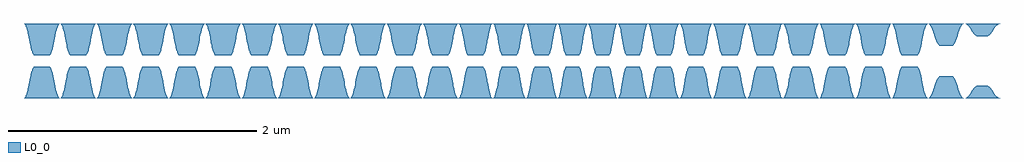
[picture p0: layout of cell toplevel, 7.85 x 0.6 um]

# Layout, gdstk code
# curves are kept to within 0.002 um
import gdstk
lib = gdstk.Library(unit=1e-6, precision=1e-09)
def P(c, l, *ps):  # polygons
    for p in ps: c.add(gdstk.Polygon(p, *l))
L0_0 = (0, 0)

toplevel = lib.new_cell('toplevel')
P(toplevel, L0_0, [(-3.832,0.046),(-3.823,0.054),(-3.809,0.088),(-3.773,0.257),(-3.759,0.291),(-3.75,0.3),(-4.037,0.3),(-4.027,0.291),(-4.011,0.249),(-3.982,0.105),(-3.966,0.058),(-3.959,0.048),(-3.952,0.045)],
  [(-3.541,0.046),(-3.536,0.048),(-3.529,0.058),(-3.522,0.074),(-3.479,0.265),(-3.47,0.287),(-3.458,0.3),(-3.745,0.3),(-3.731,0.283),(-3.724,0.265),(-3.688,0.096),(-3.672,0.054),(-3.66,0.045)],
  [(-3.245,0.048),(-3.233,0.068),(-3.219,0.114),(-3.19,0.257),(-3.176,0.291),(-3.167,0.3),(-3.454,0.3),(-3.444,0.291),(-3.428,0.249),(-3.401,0.114),(-3.392,0.081),(-3.376,0.048),(-3.369,0.045),(-3.251,0.045)],
  [(-2.958,0.046),(-2.948,0.054),(-2.939,0.074),(-2.925,0.125),(-2.912,0.198),(-2.896,0.265),(-2.889,0.283),(-2.875,0.3),(-3.162,0.3),(-3.148,0.283),(-3.141,0.265),(-3.105,0.096),(-3.089,0.054),(-3.077,0.045)],
  [(-2.664,0.047),(-2.652,0.063),(-2.643,0.088),(-2.616,0.221),(-2.604,0.265),(-2.593,0.291),(-2.583,0.3),(-2.87,0.3),(-2.861,0.291),(-2.847,0.257),(-2.818,0.114),(-2.804,0.068),(-2.795,0.051),(-2.786,0.045)],
  [(-2.374,0.046),(-2.365,0.054),(-2.349,0.096),(-2.313,0.265),(-2.306,0.283),(-2.292,0.3),(-2.579,0.3),(-2.567,0.287),(-2.558,0.265),(-2.544,0.21),(-2.522,0.096),(-2.515,0.074),(-2.501,0.048),(-2.494,0.045)],
  [(-2.081,0.047),(-2.071,0.058),(-2.055,0.105),(-2.035,0.21),(-2.021,0.265),(-2.01,0.291),(-2,0.3),(-2.287,0.3),(-2.278,0.291),(-2.264,0.257),(-2.235,0.114),(-2.221,0.068),(-2.212,0.051),(-2.202,0.045)],
  [(-1.791,0.046),(-1.782,0.054),(-1.768,0.088),(-1.732,0.257),(-1.723,0.283),(-1.709,0.3),(-1.996,0.3),(-1.984,0.287),(-1.975,0.265),(-1.961,0.21),(-1.941,0.105),(-1.932,0.074),(-1.918,0.048),(-1.911,0.045)],
  [(-1.498,0.047),(-1.488,0.058),(-1.472,0.105),(-1.452,0.21),(-1.438,0.265),(-1.429,0.287),(-1.417,0.3),(-1.704,0.3),(-1.69,0.283),(-1.681,0.257),(-1.645,0.088),(-1.629,0.051),(-1.619,0.045)],
  [(-1.208,0.046),(-1.199,0.054),(-1.185,0.088),(-1.149,0.257),(-1.135,0.291),(-1.126,0.3),(-1.413,0.3),(-1.403,0.291),(-1.387,0.249),(-1.358,0.105),(-1.342,0.058),(-1.335,0.048),(-1.328,0.045)],
  [(-0.917,0.046),(-0.912,0.048),(-0.905,0.058),(-0.898,0.074),(-0.855,0.265),(-0.846,0.287),(-0.834,0.3),(-1.121,0.3),(-1.107,0.283),(-1.1,0.265),(-1.064,0.096),(-1.048,0.054),(-1.036,0.045)],
  [(-0.626,0.047),(-0.614,0.063),(-0.605,0.088),(-0.567,0.265),(-0.558,0.287),(-0.546,0.3),(-0.83,0.3),(-0.818,0.287),(-0.809,0.265),(-0.771,0.088),(-0.762,0.063),(-0.753,0.048),(-0.746,0.045)],
  [(-0.345,0.047),(-0.338,0.054),(-0.329,0.074),(-0.318,0.114),(-0.299,0.221),(-0.288,0.265),(-0.277,0.291),(-0.268,0.3),(-0.542,0.3),(-0.533,0.291),(-0.522,0.265),(-0.511,0.221),(-0.492,0.114),(-0.481,0.074),(-0.47,0.051),(-0.461,0.045)],
  [(-0.073,0.048),(-0.054,0.096),(-0.021,0.265),(-0.013,0.287),(-0.002,0.3),(-0.264,0.3),(-0.255,0.291),(-0.245,0.265),(-0.234,0.221),(-0.214,0.105),(-0.203,0.068),(-0.193,0.048),(-0.186,0.045),(-0.079,0.045)],
  [(0.184,0.048),(0.194,0.068),(0.202,0.096),(0.234,0.265),(0.243,0.291),(0.251,0.3),(0.002,0.3),(0.01,0.291),(0.02,0.265),(0.052,0.096),(0.06,0.068),(0.07,0.048),(0.076,0.045),(0.178,0.045)],
  [(0.43,0.048),(0.44,0.068),(0.448,0.096),(0.478,0.265),(0.484,0.283),(0.495,0.3),(0.255,0.3),(0.263,0.291),(0.273,0.265),(0.301,0.105),(0.311,0.068),(0.321,0.048),(0.326,0.045),(0.424,0.045)],
  [(0.67,0.047),(0.677,0.058),(0.687,0.088),(0.709,0.221),(0.722,0.277),(0.728,0.291),(0.736,0.3),(0.499,0.3),(0.507,0.291),(0.513,0.277),(0.526,0.221),(0.548,0.088),(0.564,0.048),(0.569,0.045)],
  [(0.91,0.046),(0.92,0.058),(0.93,0.088),(0.958,0.249),(0.968,0.283),(0.98,0.3),(0.739,0.3),(0.747,0.291),(0.757,0.265),(0.787,0.096),(0.795,0.068),(0.805,0.048),(0.81,0.045)],
  [(1.165,0.048),(1.175,0.068),(1.183,0.096),(1.215,0.265),(1.225,0.291),(1.233,0.3),(0.983,0.3),(0.991,0.291),(1.001,0.265),(1.033,0.096),(1.041,0.068),(1.051,0.048),(1.057,0.045),(1.159,0.045)],
  [(1.423,0.046),(1.432,0.054),(1.44,0.074),(1.451,0.114),(1.469,0.221),(1.48,0.265),(1.49,0.291),(1.499,0.3),(1.237,0.3),(1.248,0.287),(1.256,0.265),(1.289,0.096),(1.308,0.048),(1.314,0.045)],
  [(1.702,0.048),(1.716,0.074),(1.727,0.114),(1.746,0.221),(1.757,0.265),(1.768,0.291),(1.777,0.3),(1.503,0.3),(1.512,0.291),(1.523,0.265),(1.534,0.221),(1.553,0.114),(1.566,0.068),(1.577,0.048),(1.584,0.045),(1.696,0.045)],
  [(1.985,0.047),(1.997,0.063),(2.006,0.088),(2.044,0.265),(2.055,0.291),(2.065,0.3),(1.781,0.3),(1.793,0.287),(1.802,0.265),(1.818,0.198),(1.833,0.114),(1.842,0.081),(1.858,0.048),(1.865,0.045)],
  [(2.273,0.046),(2.283,0.054),(2.292,0.074),(2.306,0.125),(2.319,0.198),(2.335,0.265),(2.342,0.283),(2.356,0.3),(2.069,0.3),(2.081,0.287),(2.09,0.265),(2.104,0.21),(2.126,0.096),(2.133,0.074),(2.147,0.048),(2.154,0.045)],
  [(2.567,0.047),(2.579,0.063),(2.593,0.105),(2.615,0.221),(2.627,0.265),(2.638,0.291),(2.648,0.3),(2.361,0.3),(2.37,0.291),(2.384,0.257),(2.413,0.114),(2.427,0.068),(2.436,0.051),(2.446,0.045)],
  [(2.857,0.046),(2.866,0.054),(2.88,0.088),(2.916,0.257),(2.925,0.283),(2.939,0.3),(2.652,0.3),(2.664,0.287),(2.673,0.265),(2.687,0.21),(2.707,0.105),(2.716,0.074),(2.73,0.048),(2.737,0.045)],
  [(3.15,0.047),(3.16,0.058),(3.176,0.105),(3.196,0.21),(3.21,0.265),(3.219,0.287),(3.231,0.3),(2.944,0.3),(2.958,0.283),(2.967,0.257),(3.003,0.088),(3.019,0.051),(3.029,0.045)],
  [(3.432,0.124),(3.44,0.131),(3.456,0.157),(3.495,0.27),(3.511,0.294),(3.522,0.3),(3.236,0.3),(3.252,0.288),(3.26,0.275),(3.273,0.244),(3.299,0.163),(3.307,0.146),(3.323,0.126),(3.331,0.122)],
  [(3.708,0.199),(3.72,0.203),(3.738,0.218),(3.768,0.264),(3.789,0.289),(3.813,0.3),(3.528,0.3),(3.543,0.295),(3.561,0.28),(3.603,0.218),(3.621,0.203),(3.636,0.198)],
  [(-0.27,-0.299),(-0.277,-0.291),(-0.288,-0.265),(-0.299,-0.221),(-0.318,-0.114),(-0.329,-0.074),(-0.342,-0.048),(-0.349,-0.045),(-0.461,-0.045),(-0.467,-0.048),(-0.481,-0.074),(-0.492,-0.114),(-0.511,-0.221),(-0.522,-0.265),(-0.533,-0.291),(-0.542,-0.3)],
  [(-0.004,-0.299),(-0.013,-0.287),(-0.021,-0.265),(-0.054,-0.096),(-0.073,-0.048),(-0.079,-0.045),(-0.186,-0.045),(-0.193,-0.048),(-0.203,-0.068),(-0.214,-0.105),(-0.234,-0.221),(-0.245,-0.265),(-0.255,-0.291),(-0.264,-0.3)],
  [(0.249,-0.299),(0.243,-0.291),(0.234,-0.265),(0.202,-0.096),(0.194,-0.068),(0.184,-0.048),(0.178,-0.045),(0.076,-0.045),(0.07,-0.048),(0.06,-0.068),(0.052,-0.096),(0.02,-0.265),(0.01,-0.291),(0.002,-0.3)],
  [(0.492,-0.297),(0.484,-0.283),(0.474,-0.249),(0.448,-0.096),(0.44,-0.068),(0.43,-0.048),(0.424,-0.045),(0.326,-0.045),(0.321,-0.048),(0.311,-0.068),(0.301,-0.105),(0.273,-0.265),(0.263,-0.291),(0.255,-0.3),(0.495,-0.3)],
  [(-2.294,-0.299),(-2.306,-0.283),(-2.313,-0.265),(-2.349,-0.096),(-2.365,-0.054),(-2.377,-0.045),(-2.494,-0.045),(-2.501,-0.048),(-2.508,-0.058),(-2.522,-0.096),(-2.544,-0.21),(-2.558,-0.265),(-2.567,-0.287),(-2.579,-0.3)],
  [(0.734,-0.299),(0.722,-0.277),(0.709,-0.221),(0.687,-0.088),(0.671,-0.048),(0.666,-0.045),(0.565,-0.047),(0.558,-0.058),(0.548,-0.088),(0.526,-0.221),(0.513,-0.277),(0.507,-0.291),(0.499,-0.3)],
  [(-2.003,-0.299),(-2.014,-0.283),(-2.026,-0.249),(-2.055,-0.105),(-2.071,-0.058),(-2.078,-0.048),(-2.085,-0.045),(-2.202,-0.045),(-2.209,-0.048),(-2.221,-0.068),(-2.235,-0.114),(-2.264,-0.257),(-2.278,-0.291),(-2.287,-0.3)],
  [(0.978,-0.299),(0.968,-0.283),(0.962,-0.265),(0.934,-0.105),(0.924,-0.068),(0.914,-0.048),(0.909,-0.045),(0.81,-0.045),(0.805,-0.048),(0.795,-0.068),(0.787,-0.096),(0.757,-0.265),(0.747,-0.291),(0.739,-0.3)],
  [(-1.42,-0.299),(-1.429,-0.287),(-1.438,-0.265),(-1.452,-0.21),(-1.472,-0.105),(-1.481,-0.074),(-1.495,-0.048),(-1.502,-0.045),(-1.619,-0.045),(-1.626,-0.048),(-1.638,-0.068),(-1.645,-0.088),(-1.681,-0.257),(-1.69,-0.283),(-1.704,-0.3)],
  [(-3.752,-0.299),(-3.759,-0.291),(-3.773,-0.257),(-3.802,-0.114),(-3.816,-0.068),(-3.825,-0.051),(-3.835,-0.045),(-3.952,-0.045),(-3.959,-0.048),(-3.966,-0.058),(-3.982,-0.105),(-4.011,-0.249),(-4.027,-0.291),(-4.037,-0.3)],
  [(-1.128,-0.299),(-1.135,-0.291),(-1.149,-0.257),(-1.178,-0.114),(-1.192,-0.068),(-1.201,-0.051),(-1.211,-0.045),(-1.328,-0.045),(-1.335,-0.048),(-1.342,-0.058),(-1.358,-0.105),(-1.387,-0.249),(-1.403,-0.291),(-1.413,-0.3)],
  [(-3.46,-0.299),(-3.47,-0.287),(-3.479,-0.265),(-3.493,-0.21),(-3.515,-0.096),(-3.522,-0.074),(-3.536,-0.048),(-3.543,-0.045),(-3.66,-0.045),(-3.667,-0.048),(-3.679,-0.068),(-3.688,-0.096),(-3.724,-0.265),(-3.731,-0.283),(-3.745,-0.3)],
  [(-0.836,-0.299),(-0.846,-0.287),(-0.855,-0.265),(-0.869,-0.21),(-0.891,-0.096),(-0.898,-0.074),(-0.912,-0.048),(-0.919,-0.045),(-1.036,-0.045),(-1.043,-0.048),(-1.055,-0.068),(-1.064,-0.096),(-1.1,-0.265),(-1.107,-0.283),(-1.121,-0.3)],
  [(-3.169,-0.299),(-3.176,-0.291),(-3.19,-0.257),(-3.219,-0.114),(-3.233,-0.068),(-3.242,-0.051),(-3.251,-0.045),(-3.369,-0.045),(-3.376,-0.048),(-3.392,-0.081),(-3.401,-0.114),(-3.428,-0.249),(-3.444,-0.291),(-3.454,-0.3)],
  [(-0.549,-0.299),(-0.558,-0.287),(-0.567,-0.265),(-0.583,-0.198),(-0.598,-0.114),(-0.607,-0.081),(-0.623,-0.048),(-0.63,-0.045),(-0.746,-0.045),(-0.753,-0.048),(-0.762,-0.063),(-0.771,-0.088),(-0.809,-0.265),(-0.818,-0.287),(-0.83,-0.3)],
  [(2.062,-0.299),(2.055,-0.291),(2.044,-0.265),(2.006,-0.088),(1.997,-0.063),(1.988,-0.048),(1.981,-0.045),(1.865,-0.045),(1.858,-0.048),(1.842,-0.081),(1.833,-0.114),(1.818,-0.198),(1.802,-0.265),(1.793,-0.287),(1.781,-0.3)],
  [(-2.877,-0.299),(-2.889,-0.283),(-2.896,-0.265),(-2.932,-0.096),(-2.948,-0.054),(-2.96,-0.045),(-3.077,-0.045),(-3.084,-0.048),(-3.091,-0.058),(-3.105,-0.096),(-3.141,-0.265),(-3.148,-0.283),(-3.162,-0.3)],
  [(2.354,-0.299),(2.342,-0.283),(2.335,-0.265),(2.299,-0.096),(2.283,-0.054),(2.271,-0.045),(2.154,-0.045),(2.147,-0.048),(2.14,-0.058),(2.126,-0.096),(2.104,-0.21),(2.09,-0.265),(2.081,-0.287),(2.069,-0.3)],
  [(-2.586,-0.299),(-2.6,-0.277),(-2.609,-0.249),(-2.636,-0.114),(-2.645,-0.081),(-2.661,-0.048),(-2.668,-0.045),(-2.786,-0.045),(-2.792,-0.048),(-2.804,-0.068),(-2.818,-0.114),(-2.847,-0.257),(-2.861,-0.291),(-2.87,-0.3)],
  [(2.645,-0.299),(2.634,-0.283),(2.622,-0.249),(2.593,-0.105),(2.579,-0.063),(2.57,-0.048),(2.563,-0.045),(2.446,-0.045),(2.439,-0.048),(2.427,-0.068),(2.413,-0.114),(2.384,-0.257),(2.37,-0.291),(2.361,-0.3)],
  [(-1.711,-0.299),(-1.723,-0.283),(-1.732,-0.257),(-1.768,-0.088),(-1.784,-0.051),(-1.794,-0.045),(-1.911,-0.045),(-1.918,-0.048),(-1.932,-0.074),(-1.941,-0.105),(-1.961,-0.21),(-1.975,-0.265),(-1.984,-0.287),(-1.996,-0.3)],
  [(2.937,-0.299),(2.925,-0.283),(2.916,-0.257),(2.882,-0.096),(2.866,-0.054),(2.854,-0.045),(2.737,-0.045),(2.73,-0.048),(2.716,-0.074),(2.707,-0.105),(2.687,-0.21),(2.673,-0.265),(2.664,-0.287),(2.652,-0.3)],
  [(1.497,-0.299),(1.49,-0.291),(1.48,-0.265),(1.469,-0.221),(1.449,-0.105),(1.438,-0.068),(1.428,-0.048),(1.421,-0.045),(1.314,-0.045),(1.308,-0.048),(1.289,-0.096),(1.256,-0.265),(1.248,-0.287),(1.237,-0.3)],
  [(3.228,-0.299),(3.217,-0.283),(3.205,-0.249),(3.176,-0.105),(3.16,-0.058),(3.153,-0.048),(3.146,-0.045),(3.029,-0.045),(3.022,-0.048),(3.01,-0.068),(3.003,-0.088),(2.967,-0.257),(2.958,-0.283),(2.944,-0.3)],
  [(1.775,-0.299),(1.768,-0.291),(1.757,-0.265),(1.746,-0.221),(1.727,-0.114),(1.716,-0.074),(1.705,-0.051),(1.696,-0.045),(1.584,-0.045),(1.577,-0.048),(1.566,-0.068),(1.553,-0.114),(1.534,-0.221),(1.523,-0.265),(1.512,-0.291),(1.503,-0.3)],
  [(1.231,-0.299),(1.221,-0.283),(1.215,-0.265),(1.183,-0.096),(1.175,-0.068),(1.165,-0.048),(1.159,-0.045),(1.057,-0.045),(1.051,-0.048),(1.041,-0.068),(1.033,-0.096),(1.001,-0.265),(0.991,-0.291),(0.983,-0.3)],
  [(3.519,-0.299),(3.506,-0.288),(3.495,-0.27),(3.456,-0.157),(3.437,-0.128),(3.426,-0.122),(3.331,-0.122),(3.323,-0.126),(3.307,-0.146),(3.291,-0.185),(3.268,-0.258),(3.252,-0.288),(3.236,-0.3)],
  [(3.81,-0.299),(3.798,-0.295),(3.78,-0.28),(3.738,-0.218),(3.72,-0.203),(3.705,-0.198),(3.636,-0.198),(3.621,-0.203),(3.603,-0.218),(3.573,-0.264),(3.552,-0.289),(3.528,-0.3)])

lib.write_gds('toplevel.gds')
